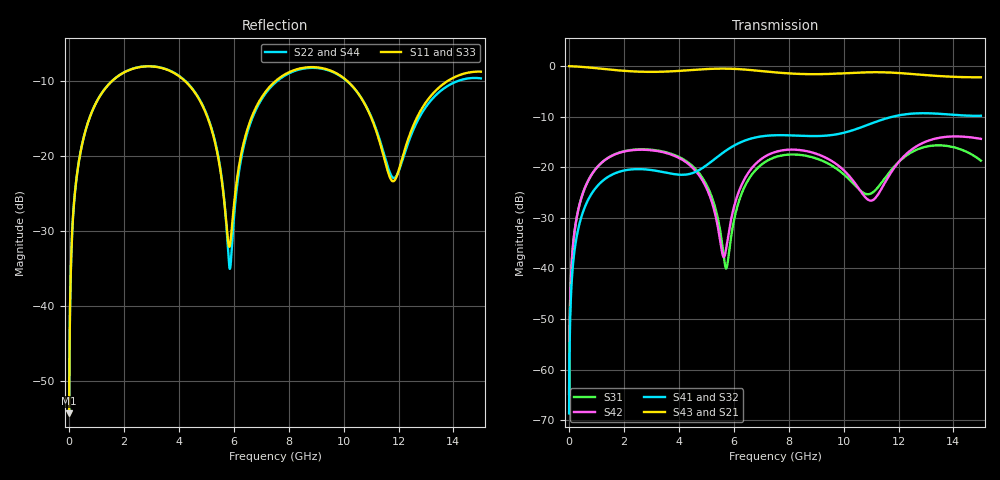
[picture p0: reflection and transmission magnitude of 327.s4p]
! Created with skrf 1.8.0 (http://scikit-rf.org).
# GHz S RI R 50.0
!freq ReS11 ImS11 ReS12 ImS12 ReS13 ImS13
! ReS14 ImS14
! ReS21 ImS21 ReS22 ImS22 ReS23 ImS23
! ReS24 ImS24
! ReS31 ImS31 ReS32 ImS32 ReS33 ImS33
! ReS34 ImS34
! ReS41 ImS41 ReS42 ImS42 ReS43 ImS43
! ReS44 ImS44
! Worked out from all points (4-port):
!   2499 points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, 5 MHz to 15 GHz, reference 50 ohm
!   strongest paths, dB at 5 MHz, 3.476 GHz, 7.19 GHz, 11.1 GHz, 15 GHz:
!     S43: 0.0, -1.1, -1.1, -1.2, -2.2
!     S21: 0.0, -1.1, -1.1, -1.2, -2.2
!     S41: -68.6, -21.0, -13.8, -11.2, -9.8
!     S32: -68.6, -21.1, -13.8, -11.2, -9.9
!     S42: -64.8, -17.1, -17.7, -26.4, -14.4
!     S31: -64.8, -17.0, -18.8, -24.8, -18.7
!   lowest |S11| = -54.3 dB at 5 MHz (marker M1), VSWR 1.00, Z = 50.2 + j0.118 ohm
!   |S11| at or under -10 dB: start of sweep to 1.572 GHz; 4.222 GHz to 7.528 GHz (3.306 GHz wide, 56.3 % of centre); 10.13 GHz to 13.79 GHz (3.662 GHz wide, 30.6 % of centre)
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0.005  0.00153 0.00117  0.9984 -0.00299  7.54e-05 0.000569  -7.35e-05 -0.000363
       0.9984 -0.00299  0.00153 0.00117  -7.35e-05 -0.000363  7.54e-05 0.000569
       7.54e-05 0.000569  -7.35e-05 -0.000363  0.00153 0.00117  0.9984 -0.00299
       -7.35e-05 -0.000363  7.54e-05 0.000569  0.9984 -0.00299  0.00153 0.00117
0.3626511  0.0269 0.0885  0.963 -0.2144  0.012 0.0388  -0.01 -0.0244
           0.963 -0.2144  0.0269 0.0885  -0.01 -0.0244  0.0119 0.0388
           0.012 0.0388  -0.01 -0.0244  0.0269 0.0885  0.963 -0.2145
           -0.01 -0.0244  0.0119 0.0388  0.963 -0.2145  0.0269 0.0885
1.619545  0.2641 0.1843  0.5647 -0.7219  0.1194 0.058  -0.0854 -0.00863
          0.5647 -0.7219  0.2649 0.1837  -0.0853 -0.00881  0.1176 0.0603
          0.1194 0.058  -0.0853 -0.00881  0.2641 0.1842  0.5647 -0.722
          -0.0854 -0.00863  0.1176 0.0603  0.5647 -0.722  0.2648 0.1837
5.858691  0.0249 0.0045  -0.9406 -0.0581  -0.0058 0.0157  -0.00317 0.1548
          -0.9406 -0.0581  0.0177 -3.99e-05  -0.00659 0.1547  0.0192 0.0181
          -0.0058 0.0157  -0.00659 0.1547  0.0233 0.00471  -0.9407 -0.058
          -0.00317 0.1548  0.0192 0.0181  -0.9407 -0.058  0.0192 0.000232
9.085035  0.3871 -0.0333  0.019 0.8324  0.0888 -0.0809  0.1965 -0.0533
          0.019 0.8324  0.3839 -0.0257  0.1969 -0.0464  0.0911 -0.0979
          0.0888 -0.0809  0.1969 -0.0464  0.3882 -0.0334  0.019 0.8322
          0.1965 -0.0533  0.0911 -0.0979  0.019 0.8322  0.3837 -0.0255
11.86744  0.0688 0.00744  0.8568 0.0619  -0.00809 0.1029  0.00847 -0.3199
          0.8568 0.0619  0.0716 0.000801  0.021 -0.3196  0.0152 0.0996
          -0.00809 0.1029  0.021 -0.3196  0.066 0.00891  0.8568 0.0619
          0.00847 -0.3199  0.0152 0.0996  0.8568 0.0619  0.0742 -0.000533
15  0.3642 -0.0199  0.0372 -0.775  0.0852 -0.0791  -0.3211 0.0366
    0.0372 -0.775  0.3286 -0.0146  -0.3207 0.0189  0.0864 -0.1702
    0.0852 -0.0791  -0.3207 0.0189  0.3682 -0.0199  0.0375 -0.774
    -0.3211 0.0366  0.0864 -0.1702  0.0375 -0.774  0.3295 -0.0123
